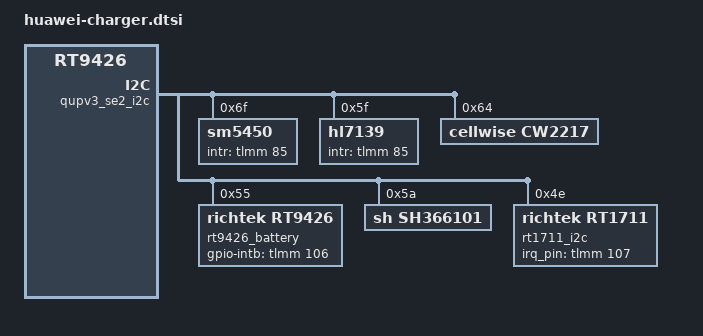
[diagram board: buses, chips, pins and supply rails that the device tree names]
&qupv3_se2_i2c {
	status = "ok";
	sm5450@6F{
		compatible = "sm5450";
		reg = <0x6F>;
		pinctrl-names = "default";
		pinctrl-0 = <&sm5450_irq_pins_default>;
		intr_gpio_num = <85>; /* direct defined GPIO num */
		intr_gpio = <&tlmm 85 0>;
		fcp_support = <1>;
		scp_support = <1>;
		sc_ibus_ocp = <3300>;
		sense_r_actual = <20>;
		ic_role = <1>;
		status = "ok";
	};

	hl7139@5F {
		compatible = "hl7139";
		reg = <0x5F>;
		pinctrl-names = "default";
		pinctrl-0 = <&sm5450_irq_pins_default>;
		intr_gpio_num = <85>; /* direct defined GPIO num */
		intr_gpio = <&tlmm 85 0>;
		fcp_support = <1>;
		scp_support = <1>;
		sense_r_actual = <20>;
		vbat_ovp_para = <4600>;
		sc_ibus_ocp = <3600>;
		sc_ibat_ocp = <7000>;
		switching_frequency = <1300>;
		tdie_regulation = <110>;
		ic_role = <1>;
		status = "ok";
	};

	cw2217@64 {
		compatible = "cellwise,cw2217";
		reg = <0x64>;
		cw,bat_name = "battery_gauge";
		status = "ok";
		ground_loop_comp_en = <1>;
		ground_loop_comp_rcomp = <40>;
		battery0{
			batt_name = "BNTCAE_4400_4480_v0";
			#include "../../../huawei_charger/cw2217_BNTCAE_4400mAh_4V48_BT266.dtsi"
		};
		battery1{
			batt_name = "BCYCGL_4400_4480_v0";
			#include "../../../huawei_charger/cw2217_BCYCGL_4400mAh_4V48_BT266.dtsi"
		};
	};

	rt9426_battery@55{
		reg = <0x55>;
		rt,bat_name = "rt_battery";
		compatible = "richtek,rt9426";
		pinctrl-names = "default";
		pinctrl-0 = <&rt9426_irq_pins_default>;
		rt9426,gpio-intb = <&tlmm 106 0x0>;
		need_reset_version = <9>;
		rt_config_ver = <12>; /* NOTICE: need increase 1 ,when update batter model param */
		ntc_compensation_is = <1>;
		ground_loop_comp_en = <1>;
		ground_loop_comp_rcomp = <40>;
		status = "ok";
		battery0{
			batt_name = "BNTCAE_4400_4480_v0";
			#include "../../../huawei_charger/rt9426_BNTCAE_4400mAh_4V48_BT266.dtsi"
		};
		battery1{
			batt_name = "BCYCGL_4400_4480_v0";
			#include "../../../huawei_charger/rt9426_BCYCGL_4400mAh_4V48_BT266.dtsi"
		};
	};

	sh366101@5A {
		compatible = "sh,sh366101";
		reg = <0x5A>;
		sh,bat_name = "battery_gauge";
		test_data = <100>;
		status = "ok";
		battery0{
			batt_name = "BNTCAE_4400_4480_v0";
			#include "../../../huawei_charger/sh366101_BNTCAE_4400mAh_4V48_BT266.dtsi"
		};
		battery1{
			batt_name = "BCYCGL_4400_4480_v0";
			#include "../../../huawei_charger/sh366101_BNTCAE_4400mAh_4V48_BT266.dtsi"
		};
	};

	rt1711_i2c@4e {
		compatible = "richtek,rt1711";
		reg = <0x4e>;
		status = "ok";
		pinctrl-names = "default";
		pinctrl-0 = <&rt1711h_irq_pins_default>;
		rt1711,irq_pin = <&tlmm 107 0>;
		rt-dual,supported_modes = <0>; /* 0: dfp/ufp, 1: dfp, 2: ufp */
		rt-tcpc,name = "type_c_port0"; /* tcpc_device's name */
		rt-tcpc,role_def = <4>; /* 0: SNK Only, 1: SRC Only, 2: DRP, 3: Try.SRC, 4: Try.SNK */
		rt-tcpc,rp_level = <0>; /* 0: Default, 1: 1.5, 2: 3.0 */
		rt-tcpc,en_temporary_lock = <1>; /* add for qcom6225, attach_wake_lock */
		rt-tcpc,notifier_supply_num = <0>; /* the number of notifier supply */
		pd-data {
			pd,source-pdo-size = <1>;
			pd,source-pdo-data = <0x00019064>;  /*<0x019014>;*/

			pd,sink-pdo-size = <2>;
			pd,sink-pdo-data = <0x000190c8 0x0002d0c8> ;   /* 0x0002d0c8 : 9V, 2A */

			/*
			No DP
			pd,id-vdo-size = <3>;
			pd,id-vdo-data = <0x500029cf 0x0 0x00010000>;
			With DP
			pd,id-vdo-size = <4>;
			pd,id-vdo-data = <0xec0029cf 0x0 0x00010000 0x11000001>;
			*/

			pd,id-vdo-size = <4>;
			pd,id-vdo-data = <0xec0012d1 0x0 0x107e0000 0x11000001>;
		};
		dpm_caps {
			local_dr_power;
			local_dr_data;
			// local_ext_power;
			local_usb_comm;
			// local_usb_suspend;
			// local_high_cap;
			// local_give_back;
			local_no_suspend;
			local_vconn_supply;

			attemp_enter_dp_mode;
			attemp_discover_cable;
			attemp_discover_id;

			/* 0: disable, 1: prefer_snk, 2: prefer_src */
			pr_check = <0>;
			// pr_reject_as_source;
			// pr_reject_as_sink;
			pr_check_gp_source;
			// pr_check_gp_sink;

			/* 0: disable, 1: prefer_ufp, 2: prefer_dfp */
			dr_check = <0>;
			// dr_reject_as_dfp;
			// dr_reject_as_ufp;

			snk_prefer_low_voltage;
			// snk_ignore_mismatch_current;
		};
		displayport {
			/* connection type = "both", "ufp_d", "dfp_d" */
			1st_connection = "dfp_d";
			2nd_connection = "dfp_d";
			signal,dp_v13;
			//signal,dp_gen2;
			//usbr20_not_used;
			typec,receptacle;
			ufp_d {
				//pin_assignment,mode_a;
				//pin_assignment,mode_b;
				//pin_assignment,mode_c;
				//pin_assignment,mode_d;
				//pin_assignment,mode_e;
			};
			dfp_d {
				/* Only support mode C & D */
				//pin_assignment,mode_a;
				//pin_assignment,mode_b;
				pin_assignment,mode_c;
				pin_assignment,mode_d;
				pin_assignment,mode_e;
				pin_assignment,mode_f;
			};
		};
	};
};
